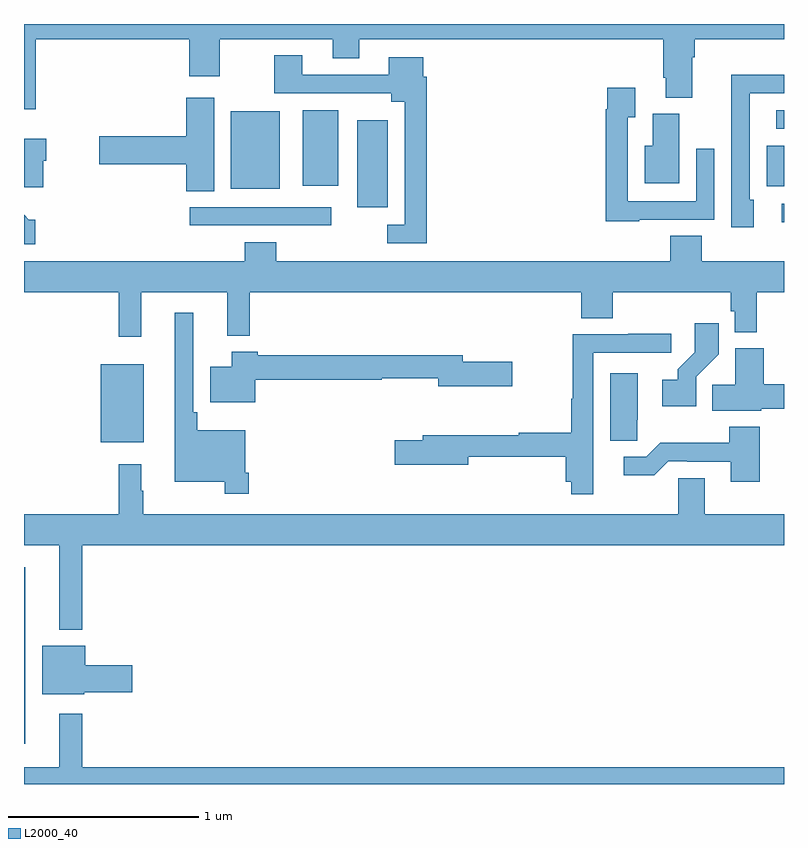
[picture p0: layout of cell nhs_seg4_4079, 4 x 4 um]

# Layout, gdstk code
import gdstk
lib = gdstk.Library(unit=1e-6, precision=1e-09)
def R(c, l, rs):  # rectangles x0, y0, x1, y1
    for r in rs: c.add(gdstk.rectangle(r[:2], r[2:], *l))
def P(c, l, *ps):  # polygons
    for p in ps: c.add(gdstk.Polygon(p, *l))
L2000_40 = (2000, 40)

nhs_seg4_4079 = lib.new_cell('nhs_seg4_4079')
R(nhs_seg4_4079, L2000_40, [(327,793.113,327.007,794.041), (327.404,794.699,327.631,795.109), (327.873,795.84,328.618,795.936), (330.987,795.857,331,795.954), (328.754,795.935,328.915,796.393), (328.088,796.034,328.345,796.441), (330.908,796.047,331,796.258), (328.466,796.049,328.654,796.447), (330.96,796.35,331,796.446)])
P(nhs_seg4_4079, L2000_40, [(327.062,796.82),(327.869,796.82),(327.869,796.626),(328.029,796.626),(328.029,796.82),(328.625,796.82),(328.625,796.721),(328.765,796.721),(328.765,796.82),(330.365,796.82),(330.365,796.618),(330.377,796.618),(330.377,796.513),(330.517,796.513),(330.517,796.724),(330.53,796.724),(330.53,796.82),(331,796.82),(331,796.9),(327,796.9),(327,796.452),(327.062,796.452)],
  [(329.12,796.622),(329.101,796.622),(329.101,796.726),(328.919,796.726),(328.919,796.632),(328.465,796.632),(328.465,796.735),(328.318,796.735),(328.318,796.536),(328.934,796.536),(328.934,796.49),(329.004,796.49),(329.004,795.843),(328.911,795.843),(328.911,795.747),(329.12,795.747)],
  [(330.841,795.975),(330.819,795.975),(330.819,796.536),(331,796.536),(331,796.634),(330.722,796.634),(330.722,796.33),(330.723,796.33),(330.723,795.831),(330.841,795.831)],
  [(330.237,795.87),(330.633,795.87),(330.633,796.243),(330.537,796.243),(330.537,795.966),(330.177,795.966),(330.177,796.408),(330.217,796.408),(330.217,796.564),(330.069,796.564),(330.069,796.451),(330.061,796.451),(330.061,795.863),(330.237,795.863)],
  [(328,796.513),(327.854,796.513),(327.854,796.31),(327.396,796.31),(327.396,796.163),(327.854,796.163),(327.854,796.021),(328,796.021)],
  [(330.448,796.428),(330.308,796.428),(330.308,796.258),(330.266,796.258),(330.266,796.061),(330.448,796.061)],
  [(327.1,796.179),(327.118,796.179),(327.118,796.297),(327,796.297),(327,796.04),(327.1,796.04)],
  [(327.058,795.871),(327.026,795.871),(327,795.897),(327,795.741),(327.058,795.741)],
  [(327.617,795.488),(328.07,795.488),(328.07,795.26),(328.187,795.26),(328.187,795.488),(329.933,795.488),(329.933,795.352),(330.098,795.352),(330.098,795.488),(330.721,795.488),(330.721,795.387),(330.741,795.387),(330.741,795.278),(330.857,795.278),(330.857,795.488),(331,795.488),(331,795.652),(330.566,795.652),(330.566,795.785),(330.401,795.785),(330.401,795.652),(328.328,795.652),(328.328,795.751),(328.163,795.751),(328.163,795.652),(327,795.652),(327,795.488),(327.499,795.488),(327.499,795.255),(327.617,795.255)],
  [(328.184,794.539),(328.164,794.539),(328.164,794.761),(327.911,794.761),(327.911,794.857),(327.891,794.857),(327.891,795.379),(327.794,795.379),(327.794,794.492),(328.056,794.492),(328.056,794.427),(328.184,794.427)],
  [(330.537,795.043),(330.656,795.162),(330.656,795.325),(330.531,795.325),(330.531,795.173),(330.44,795.083),(330.44,795.028),(330.36,795.028),(330.36,794.888),(330.537,794.888)],
  [(329.997,795.171),(330.406,795.171),(330.406,795.27),(330.181,795.27),(330.181,795.267),(329.889,795.267),(329.889,794.927),(329.881,794.927),(329.881,794.75),(329.604,794.75),(329.604,794.735),(329.099,794.735),(329.099,794.709),(328.95,794.709),(328.95,794.579),(329.338,794.579),(329.338,794.622),(329.852,794.622),(329.852,794.492),(329.881,794.492),(329.881,794.424),(329.997,794.424)],
  [(330.88,794.875),(331,794.875),(331,795.004),(330.893,795.004),(330.893,795.193),(330.743,795.193),(330.743,795.002),(330.622,795.002),(330.622,794.864),(330.88,794.864)],
  [(328.216,795.028),(328.884,795.028),(328.884,795.036),(329.18,795.036),(329.18,794.993),(329.569,794.993),(329.569,795.123),(329.308,795.123),(329.308,795.157),(328.229,795.157),(328.229,795.175),(328.094,795.175),(328.094,795.097),(327.98,795.097),(327.98,794.909),(328.216,794.909)],
  [(330.228,794.818),(330.229,794.818),(330.229,795.061),(330.086,795.061),(330.086,794.707),(330.228,794.707)],
  [(330.872,794.779),(330.712,794.779),(330.712,794.695),(330.349,794.695),(330.276,794.622),(330.156,794.622),(330.156,794.525),(330.317,794.525),(330.39,794.598),(330.49,794.598),(330.49,794.595),(330.719,794.595),(330.719,794.49),(330.872,794.49)],
  [(327.307,794.156),(331,794.156),(331,794.32),(330.583,794.32),(330.583,794.51),(330.444,794.51),(330.444,794.32),(327.628,794.32),(327.628,794.444),(327.616,794.444),(327.616,794.584),(327.499,794.584),(327.499,794.32),(327,794.32),(327,794.156),(327.185,794.156),(327.185,793.712),(327.307,793.712)],
  [(327.318,793.384),(327.571,793.384),(327.571,793.526),(327.322,793.526),(327.322,793.627),(327.095,793.627),(327.095,793.373),(327.318,793.373)],
  [(331,792.988),(327.307,792.988),(327.307,793.27),(327.185,793.27),(327.185,792.988),(327,792.988),(327,792.9),(331,792.9)])

lib.write_gds('nhs_seg4_4079.gds')
